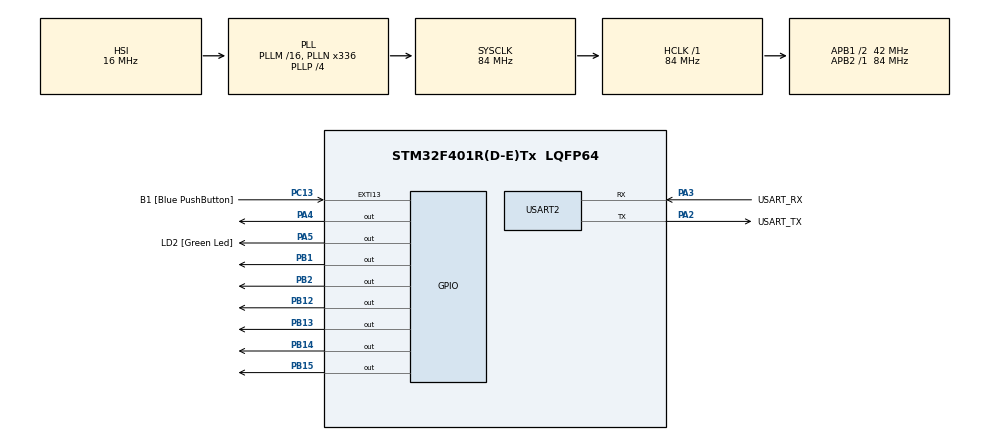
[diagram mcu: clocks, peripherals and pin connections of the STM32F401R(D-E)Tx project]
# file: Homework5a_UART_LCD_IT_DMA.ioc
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Dma.Request0=USART2_RX
Dma.USART2_RX.0.Direction=DMA_PERIPH_TO_MEMORY
Dma.USART2_RX.0.FIFOMode=DMA_FIFOMODE_DISABLE
Dma.USART2_RX.0.Instance=DMA1_Stream5
Dma.USART2_RX.0.MemDataAlignment=DMA_MDATAALIGN_BYTE
Dma.USART2_RX.0.MemInc=DMA_MINC_ENABLE
Dma.USART2_RX.0.Mode=DMA_NORMAL
Dma.USART2_RX.0.PeriphDataAlignment=DMA_PDATAALIGN_BYTE
Dma.USART2_RX.0.PeriphInc=DMA_PINC_DISABLE
Dma.USART2_RX.0.Priority=DMA_PRIORITY_LOW
Mcu.Family=STM32F4
Mcu.Name=STM32F401R(D-E)Tx
Mcu.Package=LQFP64
NVIC.DMA1_Stream5_IRQn=true\:0\:0\:false\:false\:true\:false\:true\:true
NVIC.PriorityGroup=NVIC_PRIORITYGROUP_0
NVIC.USART2_IRQn=true\:0\:0\:false\:false\:true\:true\:true\:true
PA13.GPIO_Label=TMS
PA13.Mode=Serial_Wire
PA13.Signal=SYS_JTMS-SWDIO
PA14.GPIO_Label=TCK
PA14.Mode=Serial_Wire
PA14.Signal=SYS_JTCK-SWCLK
PA2.GPIO_Label=USART_TX
PA2.GPIO_Mode=GPIO_MODE_AF_PP
PA2.GPIO_PuPd=GPIO_NOPULL
PA2.GPIO_Speed=GPIO_SPEED_FREQ_LOW
PA2.Mode=Asynchronous
PA2.Signal=USART2_TX
PA3.GPIO_Label=USART_RX
PA3.GPIO_Mode=GPIO_MODE_AF_PP
PA3.GPIO_PuPd=GPIO_NOPULL
PA3.GPIO_Speed=GPIO_SPEED_FREQ_LOW
PA3.Mode=Asynchronous
PA3.Signal=USART2_RX
PA4.Signal=GPIO_Output
PA5.GPIO_Label=LD2 [Green Led]
PA5.GPIO_Mode=GPIO_MODE_OUTPUT_PP
PA5.GPIO_PuPd=GPIO_NOPULL
PA5.GPIO_Speed=GPIO_SPEED_FREQ_LOW
PA5.Signal=GPIO_Output
PB1.Signal=GPIO_Output
PB12.Signal=GPIO_Output
PB13.Signal=GPIO_Output
PB14.Signal=GPIO_Output
PB15.Signal=GPIO_Output
PB2.Signal=GPIO_Output
PB3.GPIO_Label=SWO
PB3.Signal=SYS_JTDO-SWO
PC13-ANTI_TAMP.GPIO_Label=B1 [Blue PushButton]
PC13-ANTI_TAMP.GPIO_ModeDefaultEXTI=GPIO_MODE_IT_FALLING
PC13-ANTI_TAMP.GPIO_PuPd=GPIO_NOPULL
PC13-ANTI_TAMP.Signal=GPXTI13
PC14-OSC32_IN.Mode=LSE-External-Oscillator
PC14-OSC32_IN.Signal=RCC_OSC32_IN
PC15-OSC32_OUT.Mode=LSE-External-Oscillator
PC15-OSC32_OUT.Signal=RCC_OSC32_OUT
PH0\ -\ OSC_IN.Mode=HSE-External-Clock-Source
PH0\ -\ OSC_IN.Signal=RCC_OSC_IN
PH1\ -\ OSC_OUT.Mode=HSE-External-Clock-Source
PH1\ -\ OSC_OUT.Signal=RCC_OSC_OUT
ProjectManager.HeapSize=0x200
ProjectManager.StackSize=0x400
ProjectManager.TargetToolchain=STM32CubeIDE
RCC.48MHZClocksFreq_Value=48000000
RCC.AHBFreq_Value=84000000
RCC.APB1CLKDivider=RCC_HCLK_DIV2
RCC.APB1Freq_Value=42000000
RCC.APB1TimFreq_Value=84000000
RCC.APB2Freq_Value=84000000
RCC.APB2TimFreq_Value=84000000
RCC.CortexFreq_Value=84000000
RCC.HCLKFreq_Value=84000000
RCC.HSE_VALUE=8000000
RCC.HSI_VALUE=16000000
RCC.PLLN=336
RCC.PLLP=RCC_PLLP_DIV4
RCC.PLLQ=7
RCC.SYSCLKFreq_VALUE=84000000
RCC.SYSCLKSource=RCC_SYSCLKSOURCE_PLLCLK
RCC.VCOOutputFreq_Value=336000000
USART2.VirtualMode=VM_ASYNC
board=NUCLEO-F401RE

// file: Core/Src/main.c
/* USER CODE BEGIN Header */
/**
  ******************************************************************************
  * @file           : main.c
  * @brief          : Main program body
  ******************************************************************************
  * @attention
  *
  * Copyright (c) 2024 STMicroelectronics.
  * All rights reserved.
  *
  * This software is licensed under terms that can be found in the LICENSE file
  * in the root directory of this software component.
  * If no LICENSE file comes with this software, it is provided AS-IS.
  *
  ******************************************************************************
  *GOAL: Try sending from the PC via UART a string of variable length that
  *is displayed on the LCD.
  *
  */
/* USER CODE END Header */
#include "main.h"

/* USER CODE BEGIN Includes */
#include "string.h"
#include "PMDB16_LCD.h"
#include "stdio.h"
/* USER CODE END Includes */

/* USER CODE BEGIN PD */
#define STR_LEN_MAX 17 //16 + 1 because it have to include \n as a terminator
/* USER CODE END PD */

UART_HandleTypeDef huart2;
DMA_HandleTypeDef hdma_usart2_rx;

/* USER CODE BEGIN PV */

char curr_c = '\0';
char string_rx[STR_LEN_MAX]= "\0";
int i = 0;

/* USER CODE END PV */

void SystemClock_Config(void);
static void MX_GPIO_Init(void);
static void MX_DMA_Init(void);
static void MX_USART2_UART_Init(void);

/* USER CODE BEGIN 0 */
//This callback is activated when the receiving is complete
void HAL_UART_RxCpltCallback (UART_HandleTypeDef *huart){
	if (huart == &huart2){ 				//checking if the interrupt is generated by the port 2
		string_rx[i] = curr_c; 			//attaching the char to the string
		if (curr_c == '\n'){ 				//check if the char is a "new line" character
			string_rx[i]= '\0'; 		// attaching the terminator
			lcd_println(string_rx, 0);
			i=0; 						//ready for a new string
		}else{
			i++; 						// ready for a new char for the same string
		}
		HAL_UART_Receive_DMA(&huart2, &curr_c, 1); //receive the next character
	}
}

/* USER CODE END 0 */

int main(void)
{

  /* MCU Configuration--------------------------------------------------------*/

  /* Reset of all peripherals, Initializes the Flash interface and the Systick. */
  HAL_Init();

  /* Configure the system clock */
  SystemClock_Config();

  /* Initialize all configured peripherals */
  MX_GPIO_Init();
  MX_DMA_Init();
  MX_USART2_UART_Init();
  /* USER CODE BEGIN 2 */
  //LCD initialization
  lcd_initialize();
  lcd_backlight_ON();
  lcd_clear();

  //first character received
   HAL_UART_Receive_DMA(&huart2, &curr_c, 1);

  /* USER CODE END 2 */

  /* Infinite loop */
  while (1)
  {

  }
}

void SystemClock_Config(void)
{
  RCC_OscInitTypeDef RCC_OscInitStruct = {0};
  RCC_ClkInitTypeDef RCC_ClkInitStruct = {0};

  /** Configure the main internal regulator output voltage
  */
  __HAL_RCC_PWR_CLK_ENABLE();
  __HAL_PWR_VOLTAGESCALING_CONFIG(PWR_REGULATOR_VOLTAGE_SCALE2);

  /** Initializes the RCC Oscillators according to the specified parameters
  * in the RCC_OscInitTypeDef structure.
  */
  RCC_OscInitStruct.OscillatorType = RCC_OSCILLATORTYPE_HSI;
  RCC_OscInitStruct.HSIState = RCC_HSI_ON;
  RCC_OscInitStruct.HSICalibrationValue = RCC_HSICALIBRATION_DEFAULT;
  RCC_OscInitStruct.PLL.PLLState = RCC_PLL_ON;
  RCC_OscInitStruct.PLL.PLLSource = RCC_PLLSOURCE_HSI;
  RCC_OscInitStruct.PLL.PLLM = 16;
  RCC_OscInitStruct.PLL.PLLN = 336;
  RCC_OscInitStruct.PLL.PLLP = RCC_PLLP_DIV4;
  RCC_OscInitStruct.PLL.PLLQ = 7;
  if (HAL_RCC_OscConfig(&RCC_OscInitStruct) != HAL_OK)
  {
    Error_Handler();
  }

  /** Initializes the CPU, AHB and APB buses clocks
  */
  RCC_ClkInitStruct.ClockType = RCC_CLOCKTYPE_HCLK|RCC_CLOCKTYPE_SYSCLK
                              |RCC_CLOCKTYPE_PCLK1|RCC_CLOCKTYPE_PCLK2;
  RCC_ClkInitStruct.SYSCLKSource = RCC_SYSCLKSOURCE_PLLCLK;
  RCC_ClkInitStruct.AHBCLKDivider = RCC_SYSCLK_DIV1;
  RCC_ClkInitStruct.APB1CLKDivider = RCC_HCLK_DIV2;
  RCC_ClkInitStruct.APB2CLKDivider = RCC_HCLK_DIV1;

  if (HAL_RCC_ClockConfig(&RCC_ClkInitStruct, FLASH_LATENCY_2) != HAL_OK)
  {
    Error_Handler();
  }
}

static void MX_USART2_UART_Init(void)
{

  huart2.Instance = USART2;
  huart2.Init.BaudRate = 115200;
  huart2.Init.WordLength = UART_WORDLENGTH_8B;
  huart2.Init.StopBits = UART_STOPBITS_1;
  huart2.Init.Parity = UART_PARITY_NONE;
  huart2.Init.Mode = UART_MODE_TX_RX;
  huart2.Init.HwFlowCtl = UART_HWCONTROL_NONE;
  huart2.Init.OverSampling = UART_OVERSAMPLING_16;
  if (HAL_UART_Init(&huart2) != HAL_OK)
  {
    Error_Handler();
  }

}

static void MX_DMA_Init(void)
{

  /* DMA controller clock enable */
  __HAL_RCC_DMA1_CLK_ENABLE();

  /* DMA interrupt init */
  /* DMA1_Stream5_IRQn interrupt configuration */
  HAL_NVIC_SetPriority(DMA1_Stream5_IRQn, 0, 0);
  HAL_NVIC_EnableIRQ(DMA1_Stream5_IRQn);

}

static void MX_GPIO_Init(void)
{
  GPIO_InitTypeDef GPIO_InitStruct = {0};

  /* GPIO Ports Clock Enable */
  __HAL_RCC_GPIOC_CLK_ENABLE();
  __HAL_RCC_GPIOH_CLK_ENABLE();
  __HAL_RCC_GPIOA_CLK_ENABLE();
  __HAL_RCC_GPIOB_CLK_ENABLE();

  /*Configure GPIO pin Output Level */
  HAL_GPIO_WritePin(GPIOA, GPIO_PIN_4|LD2_Pin, GPIO_PIN_RESET);

  /*Configure GPIO pin Output Level */
  HAL_GPIO_WritePin(GPIOB, GPIO_PIN_1|GPIO_PIN_2|GPIO_PIN_12|GPIO_PIN_13
                          |GPIO_PIN_14|GPIO_PIN_15, GPIO_PIN_RESET);

  /*Configure GPIO pin : B1_Pin */
  GPIO_InitStruct.Pin = B1_Pin;
  GPIO_InitStruct.Mode = GPIO_MODE_IT_FALLING;
  GPIO_InitStruct.Pull = GPIO_NOPULL;
  HAL_GPIO_Init(B1_GPIO_Port, &GPIO_InitStruct);

  /*Configure GPIO pins : PA4 LD2_Pin */
  GPIO_InitStruct.Pin = GPIO_PIN_4|LD2_Pin;
  GPIO_InitStruct.Mode = GPIO_MODE_OUTPUT_PP;
  GPIO_InitStruct.Pull = GPIO_NOPULL;
  GPIO_InitStruct.Speed = GPIO_SPEED_FREQ_LOW;
  HAL_GPIO_Init(GPIOA, &GPIO_InitStruct);

  /*Configure GPIO pins : PB1 PB2 PB12 PB13
                           PB14 PB15 */
  GPIO_InitStruct.Pin = GPIO_PIN_1|GPIO_PIN_2|GPIO_PIN_12|GPIO_PIN_13
                          |GPIO_PIN_14|GPIO_PIN_15;
  GPIO_InitStruct.Mode = GPIO_MODE_OUTPUT_PP;
  GPIO_InitStruct.Pull = GPIO_NOPULL;
  GPIO_InitStruct.Speed = GPIO_SPEED_FREQ_LOW;
  HAL_GPIO_Init(GPIOB, &GPIO_InitStruct);

}

void Error_Handler(void)
{
  __disable_irq();
  while (1)
  {
  }
}
